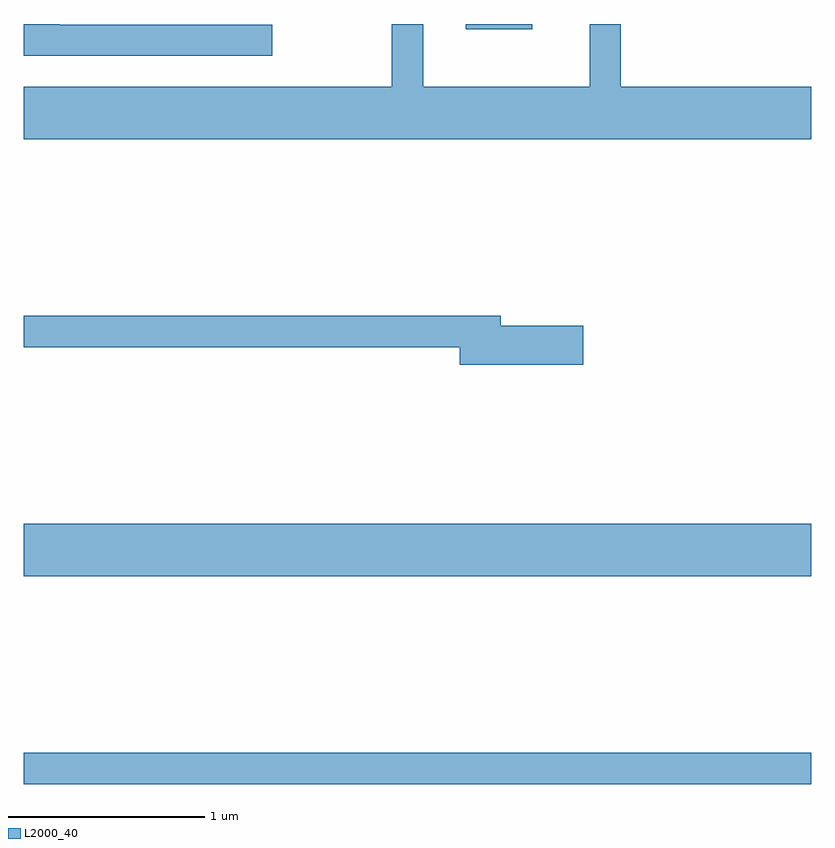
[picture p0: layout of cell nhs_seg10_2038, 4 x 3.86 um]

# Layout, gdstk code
import gdstk
lib = gdstk.Library(unit=1e-6, precision=1e-09)
def R(c, l, rs):  # rectangles x0, y0, x1, y1
    for r in rs: c.add(gdstk.rectangle(r[:2], r[2:], *l))
def P(c, l, *ps):  # polygons
    for p in ps: c.add(gdstk.Polygon(p, *l))
L2000_40 = (2000, 40)

nhs_seg10_2038 = lib.new_cell('nhs_seg10_2038')
R(nhs_seg10_2038, L2000_40, [(245.611,2090.661,249.611,2090.819), (245.611,2091.716,249.611,2091.984), (247.856,2094.496,248.194,2094.522)])
P(nhs_seg10_2038, L2000_40, [(247.481,2094.522),(247.481,2094.204),(245.611,2094.204),(245.611,2093.936),(249.611,2093.936),(249.611,2094.204),(248.644,2094.204),(248.644,2094.522),(248.486,2094.522),(248.486,2094.204),(247.639,2094.204),(247.639,2094.522)],
  [(246.873,2094.519),(245.794,2094.519),(245.794,2094.522),(245.611,2094.522),(245.611,2094.361),(246.873,2094.361)],
  [(248.454,2092.989),(248.034,2092.989),(248.034,2093.039),(245.611,2093.039),(245.611,2092.881),(247.826,2092.881),(247.826,2092.791),(248.454,2092.791)])

lib.write_gds('nhs_seg10_2038.gds')
